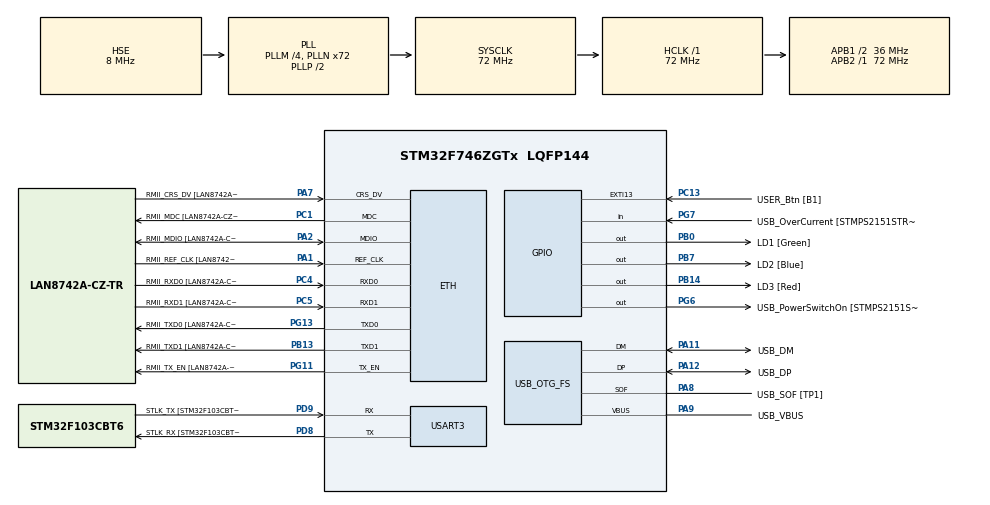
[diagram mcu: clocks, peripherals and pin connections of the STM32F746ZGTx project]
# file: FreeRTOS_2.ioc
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ETH.MediaInterface=ETH_MEDIA_INTERFACE_RMII
FREERTOS.BinarySemaphores01=BinSem,Dynamic,NULL
FREERTOS.Tasks01=ledTask,0,128,StartLedTask,Default,NULL,Dynamic,NULL,NULL;consoleTask,1,128,StartConsoleTask,Default,NULL,Dynamic,NULL,NULL
Mcu.Family=STM32F7
Mcu.Name=STM32F746ZGTx
Mcu.Package=LQFP144
NVIC.PriorityGroup=NVIC_PRIORITYGROUP_4
NVIC.TIM1_UP_TIM10_IRQn=true\:15\:0\:false\:false\:true\:false\:false\:true
NVIC.TimeBase=TIM1_UP_TIM10_IRQn
NVIC.TimeBaseIP=TIM1
PA1.GPIO_Label=RMII_REF_CLK [LAN8742A-CZ-TR_REFCLK0]
PA1.Mode=RMII
PA1.Signal=ETH_REF_CLK
PA10.GPIO_Label=USB_ID
PA10.Signal=USB_OTG_FS_ID
PA11.GPIO_Label=USB_DM
PA11.Mode=Device_Only
PA11.Signal=USB_OTG_FS_DM
PA12.GPIO_Label=USB_DP
PA12.Mode=Device_Only
PA12.Signal=USB_OTG_FS_DP
PA13.GPIO_Label=TMS
PA13.Mode=Serial_Wire
PA13.Signal=SYS_JTMS-SWDIO
PA14.GPIO_Label=TCK
PA14.Mode=Serial_Wire
PA14.Signal=SYS_JTCK-SWCLK
PA2.GPIO_Label=RMII_MDIO [LAN8742A-CZ-TR_MDIO]
PA2.Mode=RMII
PA2.Signal=ETH_MDIO
PA7.GPIO_Label=RMII_CRS_DV [LAN8742A-CZ-TR_CRS_DV]
PA7.Mode=RMII
PA7.Signal=ETH_CRS_DV
PA8.GPIO_Label=USB_SOF [TP1]
PA8.Mode=Activate_SOF_FS
PA8.Signal=USB_OTG_FS_SOF
PA9.GPIO_Label=USB_VBUS
PA9.Mode=Activate_VBUS
PA9.Signal=USB_OTG_FS_VBUS
PB0.GPIO_Label=LD1 [Green]
PB0.Signal=GPIO_Output
PB13.GPIO_Label=RMII_TXD1 [LAN8742A-CZ-TR_TXD1]
PB13.Mode=RMII
PB13.Signal=ETH_TXD1
PB14.GPIO_Label=LD3 [Red]
PB14.Signal=GPIO_Output
PB3.GPIO_Label=SW0
PB3.Signal=SYS_JTDO-SWO
PB7.GPIO_Label=LD2 [Blue]
PB7.Signal=GPIO_Output
PC1.GPIO_Label=RMII_MDC [LAN8742A-CZ-TR_MDC]
PC1.Mode=RMII
PC1.Signal=ETH_MDC
PC13.GPIO_Label=USER_Btn [B1]
PC13.Signal=GPXTI13
PC14/OSC32_IN.Mode=LSE-External-Oscillator
PC14/OSC32_IN.Signal=RCC_OSC32_IN
PC15/OSC32_OUT.Mode=LSE-External-Oscillator
PC15/OSC32_OUT.Signal=RCC_OSC32_OUT
PC4.GPIO_Label=RMII_RXD0 [LAN8742A-CZ-TR_RXD0]
PC4.Mode=RMII
PC4.Signal=ETH_RXD0
PC5.GPIO_Label=RMII_RXD1 [LAN8742A-CZ-TR_RXD1]
PC5.Mode=RMII
PC5.Signal=ETH_RXD1
PD8.GPIO_Label=STLK_RX [STM32F103CBT6_PA3]
PD8.Mode=Asynchronous
PD8.Signal=USART3_TX
PD9.GPIO_Label=STLK_TX [STM32F103CBT6_PA2]
PD9.Mode=Asynchronous
PD9.Signal=USART3_RX
PG11.GPIO_Label=RMII_TX_EN [LAN8742A-CZ-TR_TXEN]
PG11.Mode=RMII
PG11.Signal=ETH_TX_EN
PG13.GPIO_Label=RMII_TXD0 [LAN8742A-CZ-TR_TXD0]
PG13.Mode=RMII
PG13.Signal=ETH_TXD0
PG6.GPIO_Label=USB_PowerSwitchOn [STMPS2151STR_EN]
PG6.Signal=GPIO_Output
PG7.GPIO_Label=USB_OverCurrent [STMPS2151STR_FAULT]
PG7.Signal=GPIO_Input
PH0/OSC_IN.GPIO_Label=MCO [STM32F103CBT6_PA8]
PH0/OSC_IN.Mode=HSE-External-Clock-Source
PH0/OSC_IN.Signal=RCC_OSC_IN
PH1/OSC_OUT.Mode=HSE-External-Clock-Source
PH1/OSC_OUT.Signal=RCC_OSC_OUT
ProjectManager.HeapSize=0x200
ProjectManager.StackSize=0x400
ProjectManager.TargetToolchain=EWARM V8.32
RCC.48MHZClocksFreq_Value=24000000
RCC.AHBFreq_Value=72000000
RCC.APB1CLKDivider=RCC_HCLK_DIV2
RCC.APB1Freq_Value=36000000
RCC.APB1TimFreq_Value=72000000
RCC.APB2Freq_Value=72000000
RCC.APB2TimFreq_Value=72000000
RCC.CortexFreq_Value=72000000
RCC.HCLKFreq_Value=72000000
RCC.HSE_VALUE=8000000
RCC.HSI_VALUE=16000000
RCC.PLLM=4
RCC.PLLMUL=RCC_PLL_MUL9
RCC.PLLN=72
RCC.PLLQ=3
RCC.PRESCALERUSB=RCC_USBCLKSOURCE_PLL_DIV1_5
RCC.SYSCLKFreq_VALUE=72000000
RCC.SYSCLKSource=RCC_SYSCLKSOURCE_PLLCLK
RCC.SYSCLKSourceVirtual=RCC_SYSCLKSOURCE_PLLCLK
RCC.USBFreq_Value=48000000
RCC.VCOOutputFreq_Value=144000000
USART3.VirtualMode-Asynchronous=VM_ASYNC
USB_OTG_FS.VirtualMode=Device_Only
VP_FREERTOS_VS_CMSIS_V1.Mode=CMSIS_V1
VP_SYS_VS_tim1.Mode=TIM1
board=NUCLEO-F746ZG

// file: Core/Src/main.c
/* USER CODE BEGIN Header */
/**
  ******************************************************************************
  * @file           : main.c
  * @brief          : Main program body
  ******************************************************************************
  * @attention
  *
  * <h2><center>&copy; Copyright (c) 2022 STMicroelectronics.
  * All rights reserved.</center></h2>
  *
  * This software component is licensed by ST under Ultimate Liberty license
  * SLA0044, the "License"; You may not use this file except in compliance with
  * the License. You may obtain a copy of the License at:
  *                             www.st.com/SLA0044
  *
  ******************************************************************************
  */
/* USER CODE END Header */
#include "main.h"
#include "cmsis_os.h"
#include "eth.h"
#include "usart.h"
#include "usb_otg.h"
#include "gpio.h"

void SystemClock_Config(void);
void MX_FREERTOS_Init(void);

int main(void)
{

  /* MCU Configuration--------------------------------------------------------*/

  /* Reset of all peripherals, Initializes the Flash interface and the Systick. */
  HAL_Init();

  /* Configure the system clock */
  SystemClock_Config();

  /* Initialize all configured peripherals */
  MX_GPIO_Init();
  //MX_ETH_Init();
  MX_USART3_UART_Init();
  //MX_USB_OTG_FS_PCD_Init();

  /* Call init function for freertos objects (in freertos.c) */
  MX_FREERTOS_Init();
  /* Start scheduler */
  osKernelStart();

  /* We should never get here as control is now taken by the scheduler */
  /* Infinite loop */
  while (1)
  {

  }
}

void SystemClock_Config(void)
{
  RCC_OscInitTypeDef RCC_OscInitStruct = {0};
  RCC_ClkInitTypeDef RCC_ClkInitStruct = {0};
  RCC_PeriphCLKInitTypeDef PeriphClkInitStruct = {0};

  /** Configure LSE Drive Capability
  */
  HAL_PWR_EnableBkUpAccess();
  /** Configure the main internal regulator output voltage
  */
  __HAL_RCC_PWR_CLK_ENABLE();
  __HAL_PWR_VOLTAGESCALING_CONFIG(PWR_REGULATOR_VOLTAGE_SCALE3);
  /** Initializes the RCC Oscillators according to the specified parameters
  * in the RCC_OscInitTypeDef structure.
  */
  RCC_OscInitStruct.OscillatorType = RCC_OSCILLATORTYPE_HSE;
  RCC_OscInitStruct.HSEState = RCC_HSE_BYPASS;
  RCC_OscInitStruct.PLL.PLLState = RCC_PLL_ON;
  RCC_OscInitStruct.PLL.PLLSource = RCC_PLLSOURCE_HSE;
  RCC_OscInitStruct.PLL.PLLM = 4;
  RCC_OscInitStruct.PLL.PLLN = 72;
  RCC_OscInitStruct.PLL.PLLP = RCC_PLLP_DIV2;
  RCC_OscInitStruct.PLL.PLLQ = 3;
  if (HAL_RCC_OscConfig(&RCC_OscInitStruct) != HAL_OK)
  {
    Error_Handler();
  }
  /** Initializes the CPU, AHB and APB buses clocks
  */
  RCC_ClkInitStruct.ClockType = RCC_CLOCKTYPE_HCLK|RCC_CLOCKTYPE_SYSCLK
                              |RCC_CLOCKTYPE_PCLK1|RCC_CLOCKTYPE_PCLK2;
  RCC_ClkInitStruct.SYSCLKSource = RCC_SYSCLKSOURCE_PLLCLK;
  RCC_ClkInitStruct.AHBCLKDivider = RCC_SYSCLK_DIV1;
  RCC_ClkInitStruct.APB1CLKDivider = RCC_HCLK_DIV2;
  RCC_ClkInitStruct.APB2CLKDivider = RCC_HCLK_DIV1;

  if (HAL_RCC_ClockConfig(&RCC_ClkInitStruct, FLASH_LATENCY_2) != HAL_OK)
  {
    Error_Handler();
  }
  PeriphClkInitStruct.PeriphClockSelection = RCC_PERIPHCLK_USART3|RCC_PERIPHCLK_CLK48;
  PeriphClkInitStruct.Usart3ClockSelection = RCC_USART3CLKSOURCE_PCLK1;
  PeriphClkInitStruct.Clk48ClockSelection = RCC_CLK48SOURCE_PLL;
  if (HAL_RCCEx_PeriphCLKConfig(&PeriphClkInitStruct) != HAL_OK)
  {
    Error_Handler();
  }
}

void HAL_TIM_PeriodElapsedCallback(TIM_HandleTypeDef *htim)
{
  if (htim->Instance == TIM1) {
    HAL_IncTick();
  }
}

void Error_Handler(void)
{
  __disable_irq();
  while (1)
  {
  }
}

/************************ (C) COPYRIGHT STMicroelectronics *****END OF FILE****/

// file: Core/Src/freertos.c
/* USER CODE BEGIN Header */
/**
  ******************************************************************************
  * File Name          : freertos.c
  * Description        : Code for freertos applications
  ******************************************************************************
  * @attention
  *
  * <h2><center>&copy; Copyright (c) 2022 STMicroelectronics.
  * All rights reserved.</center></h2>
  *
  * This software component is licensed by ST under Ultimate Liberty license
  * SLA0044, the "License"; You may not use this file except in compliance with
  * the License. You may obtain a copy of the License at:
  *                             www.st.com/SLA0044
  *
  ******************************************************************************
  */
/* USER CODE END Header */

#include "FreeRTOS.h"
#include "task.h"
#include "main.h"
#include "cmsis_os.h"

/* USER CODE BEGIN Includes */
#include <stdio.h>
#include <string.h>
#include "usart.h"

/* USER CODE END Includes */

osThreadId ledTaskHandle;
osThreadId consoleTaskHandle;
osSemaphoreId BinSemHandle;

void StartLedTask(void const * argument);
void StartConsoleTask(void const * argument);

void MX_FREERTOS_Init(void); /* (MISRA C 2004 rule 8.1) */

/* GetIdleTaskMemory prototype (linked to static allocation support) */
void vApplicationGetIdleTaskMemory( StaticTask_t **ppxIdleTaskTCBBuffer, StackType_t **ppxIdleTaskStackBuffer, uint32_t *pulIdleTaskStackSize );

/* USER CODE BEGIN GET_IDLE_TASK_MEMORY */
static StaticTask_t xIdleTaskTCBBuffer;
static StackType_t xIdleStack[configMINIMAL_STACK_SIZE];

void vApplicationGetIdleTaskMemory( StaticTask_t **ppxIdleTaskTCBBuffer, StackType_t **ppxIdleTaskStackBuffer, uint32_t *pulIdleTaskStackSize )
{
  *ppxIdleTaskTCBBuffer = &xIdleTaskTCBBuffer;
  *ppxIdleTaskStackBuffer = &xIdleStack[0];
  *pulIdleTaskStackSize = configMINIMAL_STACK_SIZE;
  /* place for user code */
}
/* USER CODE END GET_IDLE_TASK_MEMORY */

void MX_FREERTOS_Init(void) {

  /* Create the semaphores(s) */
  /* definition and creation of BinSem */
  osSemaphoreDef(BinSem);
  BinSemHandle = osSemaphoreCreate(osSemaphore(BinSem), 1);

  /* Create the thread(s) */
  /* definition and creation of ledTask */
  osThreadDef(ledTask, StartLedTask, osPriorityNormal, 0, 128);
  ledTaskHandle = osThreadCreate(osThread(ledTask), NULL);

  /* definition and creation of consoleTask */
  osThreadDef(consoleTask, StartConsoleTask, osPriorityAboveNormal, 0, 128);
  consoleTaskHandle = osThreadCreate(osThread(consoleTask), NULL);

}
/**
 *
 *  @brief Simple Binary Semaphore Example. Please try it put/remove semophore functions
 *
*/
void StartLedTask(void const * argument)
{
  /* USER CODE BEGIN 5 */
  /* Infinite loop */
  for(;;)
  {
    HAL_UART_Transmit(&huart3, "\nLedTask Started!\r\n", strlen("\nLedTask Started!\r\n"), 1000);
    HAL_GPIO_TogglePin(LD1_GPIO_Port, LD1_Pin);
    osSemaphoreWait(BinSemHandle, osWaitForever);

    while(HAL_GPIO_ReadPin(USER_Btn_GPIO_Port, USER_Btn_Pin));

    HAL_UART_Transmit(&huart3, "LedTask Finished!\r\n", strlen("LedTask Finished!\r\n"), 1000);
    osSemaphoreRelease(BinSemHandle);
    osDelay(1000);
  }
  /* USER CODE END 5 */
}

void StartConsoleTask(void const * argument)
{
  /* USER CODE BEGIN StartConsoleTask */
  /* Infinite loop */
  for(;;)
  {
    HAL_UART_Transmit(&huart3, "\nConsoleTask Started!\r\n", strlen("\nConsoleTask Started!\r\n"), 1000);
    osSemaphoreWait(BinSemHandle, osWaitForever);

    HAL_UART_Transmit(&huart3, "ConsoleTask Finished!\r\n", strlen("ConsoleTask Finished!\r\n"), 1000);
    osSemaphoreRelease(BinSemHandle);
    osDelay(1000);
  }
  /* USER CODE END StartConsoleTask */
}

/************************ (C) COPYRIGHT STMicroelectronics *****END OF FILE****/
